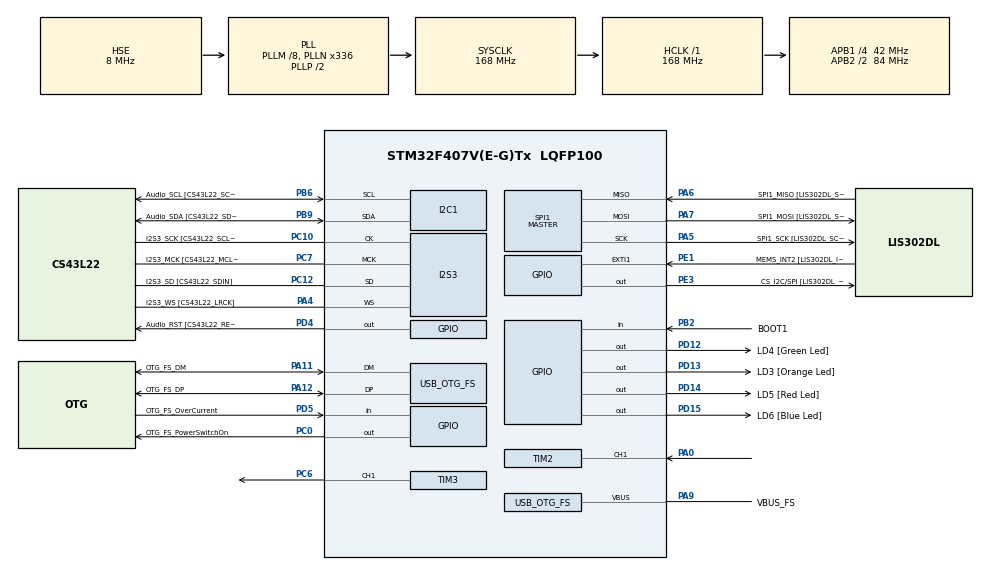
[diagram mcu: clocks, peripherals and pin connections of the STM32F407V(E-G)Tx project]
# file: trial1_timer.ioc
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I2S3.AudioFreq-Half_Duplex_Master=I2S_AUDIOFREQ_96K
I2S3.ErrorAudioFreq=-2.34 %
I2S3.ErrorAudioFreq-Half_Duplex_Master=0.8 %
I2S3.FullDuplexMode=I2S_FULLDUPLEXMODE_DISABLE
I2S3.Instance=SPI$Index
I2S3.RealAudioFreq=93.75 KHz
I2S3.RealAudioFreq-Half_Duplex_Master=96.774 KHz
I2S3.VirtualMode=I2S_MODE_MASTER
Mcu.Family=STM32F4
Mcu.Name=STM32F407V(E-G)Tx
Mcu.Package=LQFP100
NVIC.OTG_FS_IRQn=true\:0\:0\:false\:false\:true\:true
NVIC.PriorityGroup=NVIC_PRIORITYGROUP_0
NVIC.TIM2_IRQn=true\:0\:0\:false\:false\:true\:true
NVIC.TIM3_IRQn=true\:0\:0\:false\:false\:true\:true
PA0-WKUP.Signal=S_TIM2_CH1_ETR
PA10.GPIO_Label=OTG_FS_ID
PA10.GPIO_Mode=GPIO_MODE_AF_PP
PA10.GPIO_PuPd=GPIO_NOPULL
PA10.GPIO_Speed=GPIO_SPEED_FREQ_LOW
PA10.Signal=USB_OTG_FS_ID
PA11.GPIO_Label=OTG_FS_DM
PA11.GPIO_Mode=GPIO_MODE_AF_PP
PA11.GPIO_PuPd=GPIO_NOPULL
PA11.GPIO_Speed=GPIO_SPEED_FREQ_LOW
PA11.Mode=Host_Only
PA11.Signal=USB_OTG_FS_DM
PA12.GPIO_Label=OTG_FS_DP
PA12.GPIO_Mode=GPIO_MODE_AF_PP
PA12.GPIO_PuPd=GPIO_NOPULL
PA12.GPIO_Speed=GPIO_SPEED_FREQ_LOW
PA12.Mode=Host_Only
PA12.Signal=USB_OTG_FS_DP
PA13.GPIO_Label=SWDIO
PA13.Mode=Serial_Wire
PA13.Signal=SYS_JTMS-SWDIO
PA14.GPIO_Label=SWCLK
PA14.Mode=Serial_Wire
PA14.Signal=SYS_JTCK-SWCLK
PA4.GPIO_Label=I2S3_WS [CS43L22_LRCK]
PA4.GPIO_Mode=GPIO_MODE_AF_PP
PA4.GPIO_PuPd=GPIO_NOPULL
PA4.GPIO_Speed=GPIO_SPEED_FREQ_LOW
PA4.Mode=Half_Duplex_Master
PA4.Signal=I2S3_WS
PA5.GPIO_Label=SPI1_SCK [LIS302DL_SCL/SPC]
PA5.GPIO_Mode=GPIO_MODE_AF_PP
PA5.GPIO_PuPd=GPIO_NOPULL
PA5.GPIO_Speed=GPIO_SPEED_FREQ_LOW
PA5.Mode=Full_Duplex_Master
PA5.Signal=SPI1_SCK
PA6.GPIO_Label=SPI1_MISO [LIS302DL_SDO]
PA6.GPIO_Mode=GPIO_MODE_AF_PP
PA6.GPIO_PuPd=GPIO_NOPULL
PA6.GPIO_Speed=GPIO_SPEED_FREQ_LOW
PA6.Mode=Full_Duplex_Master
PA6.Signal=SPI1_MISO
PA7.GPIO_Label=SPI1_MOSI [LIS302DL_SDA/SDI/SDO]
PA7.GPIO_Mode=GPIO_MODE_AF_PP
PA7.GPIO_PuPd=GPIO_NOPULL
PA7.GPIO_Speed=GPIO_SPEED_FREQ_LOW
PA7.Mode=Full_Duplex_Master
PA7.Signal=SPI1_MOSI
PA9.GPIO_Label=VBUS_FS
PA9.GPIO_Mode=GPIO_MODE_INPUT
PA9.GPIO_PuPd=GPIO_NOPULL
PA9.Mode=Activate_VBUS
PA9.Signal=USB_OTG_FS_VBUS
PB10.GPIO_Label=CLK_IN [MP45DT02_CLK]
PB10.GPIO_Mode=GPIO_MODE_AF_PP
PB10.GPIO_PuPd=GPIO_NOPULL
PB10.GPIO_Speed=GPIO_SPEED_FREQ_LOW
PB10.Signal=I2S2_CK
PB2.GPIO_Label=BOOT1
PB2.GPIO_Mode=GPIO_MODE_INPUT
PB2.GPIO_PuPd=GPIO_NOPULL
PB2.Signal=GPIO_Input
PB3.GPIO_Label=SWO
PB3.Signal=SYS_JTDO-SWO
PB6.GPIO_Label=Audio_SCL [CS43L22_SCL]
PB6.GPIO_Mode=GPIO_MODE_AF_OD
PB6.GPIO_PuPd=GPIO_NOPULL
PB6.GPIO_Speed=GPIO_SPEED_FREQ_LOW
PB6.Mode=I2C
PB6.Signal=I2C1_SCL
PB9.GPIO_Label=Audio_SDA [CS43L22_SDA]
PB9.GPIO_Mode=GPIO_MODE_AF_OD
PB9.GPIO_PuPd=GPIO_NOPULL
PB9.GPIO_Speed=GPIO_SPEED_FREQ_LOW
PB9.Mode=I2C
PB9.Signal=I2C1_SDA
PC0.GPIO_Label=OTG_FS_PowerSwitchOn
PC0.GPIO_PuPd=GPIO_NOPULL
PC0.GPIO_Speed=GPIO_SPEED_FREQ_LOW
PC0.PinState=GPIO_PIN_SET
PC0.Signal=GPIO_Output
PC10.GPIO_Label=I2S3_SCK [CS43L22_SCLK]
PC10.GPIO_Mode=GPIO_MODE_AF_PP
PC10.GPIO_PuPd=GPIO_NOPULL
PC10.GPIO_Speed=GPIO_SPEED_FREQ_LOW
PC10.Mode=Half_Duplex_Master
PC10.Signal=I2S3_CK
PC12.GPIO_Label=I2S3_SD [CS43L22_SDIN]
PC12.GPIO_Mode=GPIO_MODE_AF_PP
PC12.GPIO_PuPd=GPIO_NOPULL
PC12.GPIO_Speed=GPIO_SPEED_FREQ_LOW
PC12.Mode=Half_Duplex_Master
PC12.Signal=I2S3_SD
PC14-OSC32_IN.GPIO_Label=PC14-OSC32_IN
PC14-OSC32_IN.Mode=LSE-External-Oscillator
PC14-OSC32_IN.Signal=RCC_OSC32_IN
PC15-OSC32_OUT.GPIO_Label=PC15-OSC32_OUT
PC15-OSC32_OUT.Mode=LSE-External-Oscillator
PC15-OSC32_OUT.Signal=RCC_OSC32_OUT
PC3.GPIO_Label=PDM_OUT [MP45DT02_DOUT]
PC3.GPIO_Mode=GPIO_MODE_AF_PP
PC3.GPIO_PuPd=GPIO_NOPULL
PC3.GPIO_Speed=GPIO_SPEED_FREQ_LOW
PC3.Signal=I2S2_SD
PC6.Signal=S_TIM3_CH1
PC7.GPIO_Label=I2S3_MCK [CS43L22_MCLK]
PC7.GPIO_Mode=GPIO_MODE_AF_PP
PC7.GPIO_PuPd=GPIO_NOPULL
PC7.GPIO_Speed=GPIO_SPEED_FREQ_LOW
PC7.Mode=Master_Clock_Activated
PC7.Signal=I2S3_MCK
PD12.GPIO_Label=LD4 [Green Led]
PD12.GPIO_PuPd=GPIO_NOPULL
PD12.GPIO_Speed=GPIO_SPEED_FREQ_LOW
PD12.Signal=GPIO_Output
PD13.GPIO_Label=LD3 [Orange Led]
PD13.GPIO_PuPd=GPIO_NOPULL
PD13.GPIO_Speed=GPIO_SPEED_FREQ_LOW
PD13.Signal=GPIO_Output
PD14.GPIO_Label=LD5 [Red Led]
PD14.GPIO_PuPd=GPIO_NOPULL
PD14.GPIO_Speed=GPIO_SPEED_FREQ_LOW
PD14.Signal=GPIO_Output
PD15.GPIO_Label=LD6 [Blue Led]
PD15.GPIO_PuPd=GPIO_NOPULL
PD15.GPIO_Speed=GPIO_SPEED_FREQ_LOW
PD15.Signal=GPIO_Output
PD4.GPIO_Label=Audio_RST [CS43L22_RESET]
PD4.GPIO_PuPd=GPIO_NOPULL
PD4.GPIO_Speed=GPIO_SPEED_FREQ_LOW
PD4.Signal=GPIO_Output
PD5.GPIO_Label=OTG_FS_OverCurrent
PD5.GPIO_Mode=GPIO_MODE_INPUT
PD5.GPIO_PuPd=GPIO_NOPULL
PD5.Signal=GPIO_Input
PE1.GPIO_Label=MEMS_INT2 [LIS302DL_INT2]
PE1.GPIO_ModeDefaultEXTI=GPIO_MODE_EVT_RISING
PE1.GPIO_PuPd=GPIO_NOPULL
PE1.Signal=GPXTI1
PE3.GPIO_Label=CS_I2C/SPI [LIS302DL_CS_I2C/SPI]
PE3.GPIO_PuPd=GPIO_NOPULL
PE3.GPIO_Speed=GPIO_SPEED_FREQ_LOW
PE3.Signal=GPIO_Output
PH0-OSC_IN.GPIO_Label=PH0-OSC_IN
PH0-OSC_IN.Mode=HSE-External-Oscillator
PH0-OSC_IN.Signal=RCC_OSC_IN
PH1-OSC_OUT.GPIO_Label=PH1-OSC_OUT
PH1-OSC_OUT.Mode=HSE-External-Oscillator
PH1-OSC_OUT.Signal=RCC_OSC_OUT
ProjectManager.HeapSize=0x200
ProjectManager.StackSize=0x400
ProjectManager.TargetToolchain=SW4STM32
RCC.48MHZClocksFreq_Value=48000000
RCC.AHBFreq_Value=168000000
RCC.APB1CLKDivider=RCC_HCLK_DIV4
RCC.APB1Freq_Value=42000000
RCC.APB1TimFreq_Value=84000000
RCC.APB2CLKDivider=RCC_HCLK_DIV2
RCC.APB2Freq_Value=84000000
RCC.APB2TimFreq_Value=168000000
RCC.CortexFreq_Value=168000000
RCC.HCLKFreq_Value=168000000
RCC.HSE_VALUE=8000000
RCC.HSI_VALUE=16000000
RCC.PLLM=8
RCC.PLLN=336
RCC.PLLQ=7
RCC.SYSCLKFreq_VALUE=168000000
RCC.SYSCLKSource=RCC_SYSCLKSOURCE_PLLCLK
RCC.VCOOutputFreq_Value=336000000
SH.S_TIM2_CH1_ETR.0=TIM2_CH1,Input_Capture1_from_TI1
SH.S_TIM3_CH1.0=TIM3_CH1,PWM Generation1 CH1
SPI1.BaudRatePrescaler-Full_Duplex_Master=SPI_BAUDRATEPRESCALER_2
SPI1.CalculateBaudRate-Full_Duplex_Master=42.0 MBits/s
SPI1.Direction=SPI_DIRECTION_2LINES
SPI1.Mode=SPI_MODE_MASTER
SPI1.Mode-Full_Duplex_Master=SPI_MODE_MASTER
SPI1.VirtualType=VM_MASTER
TIM2.Channel-Input_Capture1_from_TI1=TIM_CHANNEL_1
TIM2.ICFilter_CH1=0
TIM2.Period=100000
TIM2.Prescaler=42000
TIM3.Channel-PWM\ Generation1\ CH1=TIM_CHANNEL_1
TIM3.OCPolarity_1=TIM_OCPOLARITY_LOW
TIM3.Period=799
TIM3.Prescaler=0
USB_HOST.BSP.number=1
USB_HOST.USBH_HandleTypeDef-CDC_FS=hUsbHostFS
USB_HOST.VirtualModeFS=Cdc
USB_HOST0.BSP.STBoard=false
USB_HOST0.BSP.api=Unknown
USB_HOST0.BSP.i2caddr=0
USB_HOST0.BSP.i2creg=0
USB_HOST0.BSP.instance=PC0
USB_HOST0.BSP.ip=GPIO
USB_HOST0.BSP.mode=Output
USB_HOST0.BSP.name=Drive_VBUS_FS
USB_HOST0.BSP.solution=PC0
USB_OTG_FS.VirtualMode=Host_Only
USB_OTG_FS.phy_itface=HCD_PHY_EMBEDDED
VP_TIM2_VS_ClockSourceINT.Mode=Internal
VP_TIM3_VS_ClockSourceINT.Mode=Internal
VP_USB_HOST_VS_USB_HOST_CDC_FS.Mode=CDC_FS
board=STM32F4DISCOVERY

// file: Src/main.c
/**
  ******************************************************************************
  * @file           : main.c
  * @brief          : Main program body
  ******************************************************************************
  * This notice applies to any and all portions of this file
  * that are not between comment pairs USER CODE BEGIN and
  * USER CODE END. Other portions of this file, whether
  * inserted by the user or by software development tools
  * are owned by their respective copyright owners.
  *
  * Copyright (c) 2018 STMicroelectronics International N.V.
  * All rights reserved.
  *
  * Redistribution and use in source and binary forms, with or without
  * modification, are permitted, provided that the following conditions are met:
  *
  * 1. Redistribution of source code must retain the above copyright notice,
  *    this list of conditions and the following disclaimer.
  * 2. Redistributions in binary form must reproduce the above copyright notice,
  *    this list of conditions and the following disclaimer in the documentation
  *    and/or other materials provided with the distribution.
  * 3. Neither the name of STMicroelectronics nor the names of other
  *    contributors to this software may be used to endorse or promote products
  *    derived from this software without specific written permission.
  * 4. This software, including modifications and/or derivative works of this
  *    software, must execute solely and exclusively on microcontroller or
  *    microprocessor devices manufactured by or for STMicroelectronics.
  * 5. Redistribution and use of this software other than as permitted under
  *    this license is void and will automatically terminate your rights under
  *    this license.
  *
  * THIS SOFTWARE IS PROVIDED BY STMICROELECTRONICS AND CONTRIBUTORS "AS IS"
  * AND ANY EXPRESS, IMPLIED OR STATUTORY WARRANTIES, INCLUDING, BUT NOT
  * LIMITED TO, THE IMPLIED WARRANTIES OF MERCHANTABILITY, FITNESS FOR A
  * PARTICULAR PURPOSE AND NON-INFRINGEMENT OF THIRD PARTY INTELLECTUAL PROPERTY
  * RIGHTS ARE DISCLAIMED TO THE FULLEST EXTENT PERMITTED BY LAW. IN NO EVENT
  * SHALL STMICROELECTRONICS OR CONTRIBUTORS BE LIABLE FOR ANY DIRECT, INDIRECT,
  * INCIDENTAL, SPECIAL, EXEMPLARY, OR CONSEQUENTIAL DAMAGES (INCLUDING, BUT NOT
  * LIMITED TO, PROCUREMENT OF SUBSTITUTE GOODS OR SERVICES; LOSS OF USE, DATA,
  * OR PROFITS; OR BUSINESS INTERRUPTION) HOWEVER CAUSED AND ON ANY THEORY OF
  * LIABILITY, WHETHER IN CONTRACT, STRICT LIABILITY, OR TORT (INCLUDING
  * NEGLIGENCE OR OTHERWISE) ARISING IN ANY WAY OUT OF THE USE OF THIS SOFTWARE,
  * EVEN IF ADVISED OF THE POSSIBILITY OF SUCH DAMAGE.
  *
  ******************************************************************************
  */
#include "main.h"
#include "stm32f4xx_hal.h"
#include "usb_host.h"

/* USER CODE BEGIN Includes */
#define SET		1
#define CLEAR	0
#include "stdbool.h"

/* USER CODE END Includes */

I2C_HandleTypeDef hi2c1;

I2S_HandleTypeDef hi2s3;

SPI_HandleTypeDef hspi1;

TIM_HandleTypeDef htim2;
TIM_HandleTypeDef htim3;

/* USER CODE BEGIN PV */
/* Private variables ---------------------------------------------------------*/
long inp_capture1=0;
long inp_capture2=0;
long count2=0;
int flag,freq,pulse_ticks;
/* USER CODE END PV */

void SystemClock_Config(void);
static void MX_GPIO_Init(void);
static void MX_I2C1_Init(void);
static void MX_I2S3_Init(void);
static void MX_SPI1_Init(void);
static void MX_TIM3_Init(void);
static void MX_TIM2_Init(void);
void MX_USB_HOST_Process(void);

void HAL_TIM_MspPostInit(TIM_HandleTypeDef *htim);

/* USER CODE BEGIN PFP */
/* Private function prototypes -----------------------------------------------*/
//void HAL_TIM_IC_CaptureCallback(TIM_HandleTypeDef *htim);
/* USER CODE END PFP */

/* USER CODE BEGIN 0 */

void HAL_TIM_IC_CaptureCallback(TIM_HandleTypeDef *htim)
{

	flag=0;
	if (htim->Instance==TIM2)
	{
		if ((__HAL_TIM_GET_FLAG(&htim2,TIM_FLAG_UPDATE))==true)
		{
			__HAL_TIM_CLEAR_FLAG(&htim2,TIM_FLAG_UPDATE);
			flag++;

			if ((__HAL_TIM_GET_FLAG(&htim2,TIM_FLAG_CC1))==true)
			{
				__HAL_TIM_CLEAR_FLAG(&htim2,TIM_FLAG_CC1);
				inp_capture1=__HAL_TIM_GET_COMPARE(&htim2,TIM_CHANNEL_1);
				//__HAL_TIM_SET_COUNTER(&htim2,0);
				pulse_ticks=((flag<<16)-inp_capture1+__HAL_TIM_GET_COMPARE(&htim2,TIM_CHANNEL_1));
				flag=0;
			}
			/*
			else if (flag==1)
			{
				if (__HAL_TIM_GET_FLAG(&htim2,TIM_FLAG_UPDATE)==true)
				{
					inp_capture2=__HAL_TIM_GET_COMPARE(&htim2,TIM_CHANNEL_1);
					inp_capture2=inp_capture2-inp_capture1;
				}
				else
				{
					__HAL_TIM_CLEAR_FLAG(&htim2,TIM_FLAG_UPDATE);
					inp_capture2=(0xFFFF)-inp_capture1+(__HAL_TIM_GET_COMPARE(&htim2,TIM_CHANNEL_1))+1;
				}
				flag=0;

				if (inp_capture2!=0)
				{
					float f= (float) inp_capture2;
					freq=1000/f;
				}

			}
*/

		}

	}

}

void HAL_TIM_PeriodElapsedCallback(TIM_HandleTypeDef *htim)
{
	if(htim->Instance==TIM3)
	{
		HAL_GPIO_TogglePin(GPIOD,GPIO_PIN_14);
	}
}

/* USER CODE END 0 */

int main(void)
{

  /* MCU Configuration----------------------------------------------------------*/

  /* Reset of all peripherals, Initializes the Flash interface and the Systick. */
  HAL_Init();

  /* Configure the system clock */
  SystemClock_Config();

  /* Initialize all configured peripherals */
  MX_GPIO_Init();
  MX_I2C1_Init();
  MX_I2S3_Init();
  MX_SPI1_Init();
  MX_USB_HOST_Init();
  MX_TIM3_Init();
  MX_TIM2_Init();
  /* USER CODE BEGIN 2 */
  //HAL_TIM_Base_Start_IT(&htim3);
  HAL_TIM_IC_Start_IT(&htim2,TIM_CHANNEL_1);
  flag=0;
  //HAL_TIM_ReadCapturedValue(&htim2,TIM_CHANNEL_1);
  /* USER CODE END 2 */

  /* Infinite loop */
  /* USER CODE BEGIN WHILE */
  while (1)
  {
	count2=__HAL_TIM_GET_COUNTER(&htim2);
	freq=(1000000/pulse_ticks);
	  //value= HAL_TIM_ReadCapturedValue(&htim2,TIM_CHANNEL_1);
	  //count2=__HAL_TIM_GET_COUNTER(&htim2);
/*
		if ((__HAL_TIM_GET_FLAG(&htim2,TIM_FLAG_CC1))==true)
			{
				__HAL_TIM_CLEAR_FLAG(&htim2,TIM_FLAG_CC1);

				if (flag==0)
				{
					inp_capture1=__HAL_TIM_GET_COMPARE(&htim2,TIM_CHANNEL_1);
					//__HAL_TIM_SET_COUNTER(&htim2,0);
					flag=1;
				}
				else if (flag==1)
				{
					if (__HAL_TIM_GET_FLAG(&htim2,TIM_FLAG_UPDATE)==true)
					{
						inp_capture2=__HAL_TIM_GET_COMPARE(&htim2,TIM_CHANNEL_1);
						inp_capture2=inp_capture2-inp_capture1;
					}
					else
					{
						__HAL_TIM_CLEAR_FLAG(&htim2,TIM_FLAG_UPDATE);
						inp_capture2=0xFFFF-inp_capture1+(__HAL_TIM_GET_COMPARE(&htim2,TIM_CHANNEL_1))+1;
					}
					flag=0;

					if (inp_capture2!=0)
					{
						freq=1000/inp_capture2;
					}

				}

			 }

*/

  /* USER CODE END WHILE */
    MX_USB_HOST_Process();

  }

}

void SystemClock_Config(void)
{

  RCC_OscInitTypeDef RCC_OscInitStruct;
  RCC_ClkInitTypeDef RCC_ClkInitStruct;
  RCC_PeriphCLKInitTypeDef PeriphClkInitStruct;

    /**Configure the main internal regulator output voltage
    */
  __HAL_RCC_PWR_CLK_ENABLE();

  __HAL_PWR_VOLTAGESCALING_CONFIG(PWR_REGULATOR_VOLTAGE_SCALE1);

    /**Initializes the CPU, AHB and APB busses clocks
    */
  RCC_OscInitStruct.OscillatorType = RCC_OSCILLATORTYPE_HSE;
  RCC_OscInitStruct.HSEState = RCC_HSE_ON;
  RCC_OscInitStruct.PLL.PLLState = RCC_PLL_ON;
  RCC_OscInitStruct.PLL.PLLSource = RCC_PLLSOURCE_HSE;
  RCC_OscInitStruct.PLL.PLLM = 8;
  RCC_OscInitStruct.PLL.PLLN = 336;
  RCC_OscInitStruct.PLL.PLLP = RCC_PLLP_DIV2;
  RCC_OscInitStruct.PLL.PLLQ = 7;
  if (HAL_RCC_OscConfig(&RCC_OscInitStruct) != HAL_OK)
  {
    _Error_Handler(__FILE__, __LINE__);
  }

    /**Initializes the CPU, AHB and APB busses clocks
    */
  RCC_ClkInitStruct.ClockType = RCC_CLOCKTYPE_HCLK|RCC_CLOCKTYPE_SYSCLK
                              |RCC_CLOCKTYPE_PCLK1|RCC_CLOCKTYPE_PCLK2;
  RCC_ClkInitStruct.SYSCLKSource = RCC_SYSCLKSOURCE_PLLCLK;
  RCC_ClkInitStruct.AHBCLKDivider = RCC_SYSCLK_DIV1;
  RCC_ClkInitStruct.APB1CLKDivider = RCC_HCLK_DIV4;
  RCC_ClkInitStruct.APB2CLKDivider = RCC_HCLK_DIV2;

  if (HAL_RCC_ClockConfig(&RCC_ClkInitStruct, FLASH_LATENCY_5) != HAL_OK)
  {
    _Error_Handler(__FILE__, __LINE__);
  }

  PeriphClkInitStruct.PeriphClockSelection = RCC_PERIPHCLK_I2S;
  PeriphClkInitStruct.PLLI2S.PLLI2SN = 192;
  PeriphClkInitStruct.PLLI2S.PLLI2SR = 2;
  if (HAL_RCCEx_PeriphCLKConfig(&PeriphClkInitStruct) != HAL_OK)
  {
    _Error_Handler(__FILE__, __LINE__);
  }

    /**Configure the Systick interrupt time
    */
  HAL_SYSTICK_Config(HAL_RCC_GetHCLKFreq()/1000);

    /**Configure the Systick
    */
  HAL_SYSTICK_CLKSourceConfig(SYSTICK_CLKSOURCE_HCLK);

  /* SysTick_IRQn interrupt configuration */
  HAL_NVIC_SetPriority(SysTick_IRQn, 0, 0);
}

/* I2C1 init function */
static void MX_I2C1_Init(void)
{

  hi2c1.Instance = I2C1;
  hi2c1.Init.ClockSpeed = 100000;
  hi2c1.Init.DutyCycle = I2C_DUTYCYCLE_2;
  hi2c1.Init.OwnAddress1 = 0;
  hi2c1.Init.AddressingMode = I2C_ADDRESSINGMODE_7BIT;
  hi2c1.Init.DualAddressMode = I2C_DUALADDRESS_DISABLE;
  hi2c1.Init.OwnAddress2 = 0;
  hi2c1.Init.GeneralCallMode = I2C_GENERALCALL_DISABLE;
  hi2c1.Init.NoStretchMode = I2C_NOSTRETCH_DISABLE;
  if (HAL_I2C_Init(&hi2c1) != HAL_OK)
  {
    _Error_Handler(__FILE__, __LINE__);
  }

}

/* I2S3 init function */
static void MX_I2S3_Init(void)
{

  hi2s3.Instance = SPI3;
  hi2s3.Init.Mode = I2S_MODE_MASTER_TX;
  hi2s3.Init.Standard = I2S_STANDARD_PHILIPS;
  hi2s3.Init.DataFormat = I2S_DATAFORMAT_16B;
  hi2s3.Init.MCLKOutput = I2S_MCLKOUTPUT_ENABLE;
  hi2s3.Init.AudioFreq = I2S_AUDIOFREQ_96K;
  hi2s3.Init.CPOL = I2S_CPOL_LOW;
  hi2s3.Init.ClockSource = I2S_CLOCK_PLL;
  hi2s3.Init.FullDuplexMode = I2S_FULLDUPLEXMODE_DISABLE;
  if (HAL_I2S_Init(&hi2s3) != HAL_OK)
  {
    _Error_Handler(__FILE__, __LINE__);
  }

}

/* SPI1 init function */
static void MX_SPI1_Init(void)
{

  /* SPI1 parameter configuration*/
  hspi1.Instance = SPI1;
  hspi1.Init.Mode = SPI_MODE_MASTER;
  hspi1.Init.Direction = SPI_DIRECTION_2LINES;
  hspi1.Init.DataSize = SPI_DATASIZE_8BIT;
  hspi1.Init.CLKPolarity = SPI_POLARITY_LOW;
  hspi1.Init.CLKPhase = SPI_PHASE_1EDGE;
  hspi1.Init.NSS = SPI_NSS_SOFT;
  hspi1.Init.BaudRatePrescaler = SPI_BAUDRATEPRESCALER_2;
  hspi1.Init.FirstBit = SPI_FIRSTBIT_MSB;
  hspi1.Init.TIMode = SPI_TIMODE_DISABLE;
  hspi1.Init.CRCCalculation = SPI_CRCCALCULATION_DISABLE;
  hspi1.Init.CRCPolynomial = 10;
  if (HAL_SPI_Init(&hspi1) != HAL_OK)
  {
    _Error_Handler(__FILE__, __LINE__);
  }

}

/* TIM2 init function */
static void MX_TIM2_Init(void)
{

  TIM_ClockConfigTypeDef sClockSourceConfig;
  TIM_MasterConfigTypeDef sMasterConfig;
  TIM_IC_InitTypeDef sConfigIC;

  htim2.Instance = TIM2;
  htim2.Init.Prescaler = 42000;
  htim2.Init.CounterMode = TIM_COUNTERMODE_UP;
  htim2.Init.Period = 100000;
  htim2.Init.ClockDivision = TIM_CLOCKDIVISION_DIV1;
  if (HAL_TIM_Base_Init(&htim2) != HAL_OK)
  {
    _Error_Handler(__FILE__, __LINE__);
  }

  sClockSourceConfig.ClockSource = TIM_CLOCKSOURCE_INTERNAL;
  if (HAL_TIM_ConfigClockSource(&htim2, &sClockSourceConfig) != HAL_OK)
  {
    _Error_Handler(__FILE__, __LINE__);
  }

  if (HAL_TIM_IC_Init(&htim2) != HAL_OK)
  {
    _Error_Handler(__FILE__, __LINE__);
  }

  sMasterConfig.MasterOutputTrigger = TIM_TRGO_RESET;
  sMasterConfig.MasterSlaveMode = TIM_MASTERSLAVEMODE_DISABLE;
  if (HAL_TIMEx_MasterConfigSynchronization(&htim2, &sMasterConfig) != HAL_OK)
  {
    _Error_Handler(__FILE__, __LINE__);
  }

  sConfigIC.ICPolarity = TIM_INPUTCHANNELPOLARITY_RISING;
  sConfigIC.ICSelection = TIM_ICSELECTION_DIRECTTI;
  sConfigIC.ICPrescaler = TIM_ICPSC_DIV1;
  sConfigIC.ICFilter = 0;
  if (HAL_TIM_IC_ConfigChannel(&htim2, &sConfigIC, TIM_CHANNEL_1) != HAL_OK)
  {
    _Error_Handler(__FILE__, __LINE__);
  }

}

/* TIM3 init function */
static void MX_TIM3_Init(void)
{

  TIM_ClockConfigTypeDef sClockSourceConfig;
  TIM_MasterConfigTypeDef sMasterConfig;
  TIM_OC_InitTypeDef sConfigOC;

  htim3.Instance = TIM3;
  htim3.Init.Prescaler = 0;
  htim3.Init.CounterMode = TIM_COUNTERMODE_UP;
  htim3.Init.Period = 799;
  htim3.Init.ClockDivision = TIM_CLOCKDIVISION_DIV1;
  if (HAL_TIM_Base_Init(&htim3) != HAL_OK)
  {
    _Error_Handler(__FILE__, __LINE__);
  }

  sClockSourceConfig.ClockSource = TIM_CLOCKSOURCE_INTERNAL;
  if (HAL_TIM_ConfigClockSource(&htim3, &sClockSourceConfig) != HAL_OK)
  {
    _Error_Handler(__FILE__, __LINE__);
  }

  if (HAL_TIM_PWM_Init(&htim3) != HAL_OK)
  {
    _Error_Handler(__FILE__, __LINE__);
  }

  sMasterConfig.MasterOutputTrigger = TIM_TRGO_RESET;
  sMasterConfig.MasterSlaveMode = TIM_MASTERSLAVEMODE_DISABLE;
  if (HAL_TIMEx_MasterConfigSynchronization(&htim3, &sMasterConfig) != HAL_OK)
  {
    _Error_Handler(__FILE__, __LINE__);
  }

  sConfigOC.OCMode = TIM_OCMODE_PWM1;
  sConfigOC.Pulse = 0;
  sConfigOC.OCPolarity = TIM_OCPOLARITY_LOW;
  sConfigOC.OCFastMode = TIM_OCFAST_DISABLE;
  if (HAL_TIM_PWM_ConfigChannel(&htim3, &sConfigOC, TIM_CHANNEL_1) != HAL_OK)
  {
    _Error_Handler(__FILE__, __LINE__);
  }

  HAL_TIM_MspPostInit(&htim3);

}

/** Configure pins as
        * Analog
        * Input
        * Output
        * EVENT_OUT
        * EXTI
     PC3   ------> I2S2_SD
     PB10   ------> I2S2_CK
*/
static void MX_GPIO_Init(void)
{

  GPIO_InitTypeDef GPIO_InitStruct;

  /* GPIO Ports Clock Enable */
  __HAL_RCC_GPIOE_CLK_ENABLE();
  __HAL_RCC_GPIOC_CLK_ENABLE();
  __HAL_RCC_GPIOH_CLK_ENABLE();
  __HAL_RCC_GPIOA_CLK_ENABLE();
  __HAL_RCC_GPIOB_CLK_ENABLE();
  __HAL_RCC_GPIOD_CLK_ENABLE();

  /*Configure GPIO pin Output Level */
  HAL_GPIO_WritePin(CS_I2C_SPI_GPIO_Port, CS_I2C_SPI_Pin, GPIO_PIN_RESET);

  /*Configure GPIO pin Output Level */
  HAL_GPIO_WritePin(OTG_FS_PowerSwitchOn_GPIO_Port, OTG_FS_PowerSwitchOn_Pin, GPIO_PIN_SET);

  /*Configure GPIO pin Output Level */
  HAL_GPIO_WritePin(GPIOD, LD4_Pin|LD3_Pin|LD5_Pin|LD6_Pin
                          |Audio_RST_Pin, GPIO_PIN_RESET);

  /*Configure GPIO pin : CS_I2C_SPI_Pin */
  GPIO_InitStruct.Pin = CS_I2C_SPI_Pin;
  GPIO_InitStruct.Mode = GPIO_MODE_OUTPUT_PP;
  GPIO_InitStruct.Pull = GPIO_NOPULL;
  GPIO_InitStruct.Speed = GPIO_SPEED_FREQ_LOW;
  HAL_GPIO_Init(CS_I2C_SPI_GPIO_Port, &GPIO_InitStruct);

  /*Configure GPIO pin : OTG_FS_PowerSwitchOn_Pin */
  GPIO_InitStruct.Pin = OTG_FS_PowerSwitchOn_Pin;
  GPIO_InitStruct.Mode = GPIO_MODE_OUTPUT_PP;
  GPIO_InitStruct.Pull = GPIO_NOPULL;
  GPIO_InitStruct.Speed = GPIO_SPEED_FREQ_LOW;
  HAL_GPIO_Init(OTG_FS_PowerSwitchOn_GPIO_Port, &GPIO_InitStruct);

  /*Configure GPIO pin : PDM_OUT_Pin */
  GPIO_InitStruct.Pin = PDM_OUT_Pin;
  GPIO_InitStruct.Mode = GPIO_MODE_AF_PP;
  GPIO_InitStruct.Pull = GPIO_NOPULL;
  GPIO_InitStruct.Speed = GPIO_SPEED_FREQ_LOW;
  GPIO_InitStruct.Alternate = GPIO_AF5_SPI2;
  HAL_GPIO_Init(PDM_OUT_GPIO_Port, &GPIO_InitStruct);

  /*Configure GPIO pin : BOOT1_Pin */
  GPIO_InitStruct.Pin = BOOT1_Pin;
  GPIO_InitStruct.Mode = GPIO_MODE_INPUT;
  GPIO_InitStruct.Pull = GPIO_NOPULL;
  HAL_GPIO_Init(BOOT1_GPIO_Port, &GPIO_InitStruct);

  /*Configure GPIO pin : CLK_IN_Pin */
  GPIO_InitStruct.Pin = CLK_IN_Pin;
  GPIO_InitStruct.Mode = GPIO_MODE_AF_PP;
  GPIO_InitStruct.Pull = GPIO_NOPULL;
  GPIO_InitStruct.Speed = GPIO_SPEED_FREQ_LOW;
  GPIO_InitStruct.Alternate = GPIO_AF5_SPI2;
  HAL_GPIO_Init(CLK_IN_GPIO_Port, &GPIO_InitStruct);

  /*Configure GPIO pins : LD4_Pin LD3_Pin LD5_Pin LD6_Pin
                           Audio_RST_Pin */
  GPIO_InitStruct.Pin = LD4_Pin|LD3_Pin|LD5_Pin|LD6_Pin
                          |Audio_RST_Pin;
  GPIO_InitStruct.Mode = GPIO_MODE_OUTPUT_PP;
  GPIO_InitStruct.Pull = GPIO_NOPULL;
  GPIO_InitStruct.Speed = GPIO_SPEED_FREQ_LOW;
  HAL_GPIO_Init(GPIOD, &GPIO_InitStruct);

  /*Configure GPIO pin : OTG_FS_OverCurrent_Pin */
  GPIO_InitStruct.Pin = OTG_FS_OverCurrent_Pin;
  GPIO_InitStruct.Mode = GPIO_MODE_INPUT;
  GPIO_InitStruct.Pull = GPIO_NOPULL;
  HAL_GPIO_Init(OTG_FS_OverCurrent_GPIO_Port, &GPIO_InitStruct);

  /*Configure GPIO pin : MEMS_INT2_Pin */
  GPIO_InitStruct.Pin = MEMS_INT2_Pin;
  GPIO_InitStruct.Mode = GPIO_MODE_EVT_RISING;
  GPIO_InitStruct.Pull = GPIO_NOPULL;
  HAL_GPIO_Init(MEMS_INT2_GPIO_Port, &GPIO_InitStruct);

}

void _Error_Handler(char *file, int line)
{
  while(1)
  {
  }
}

/************************ (C) COPYRIGHT STMicroelectronics *****END OF FILE****/
